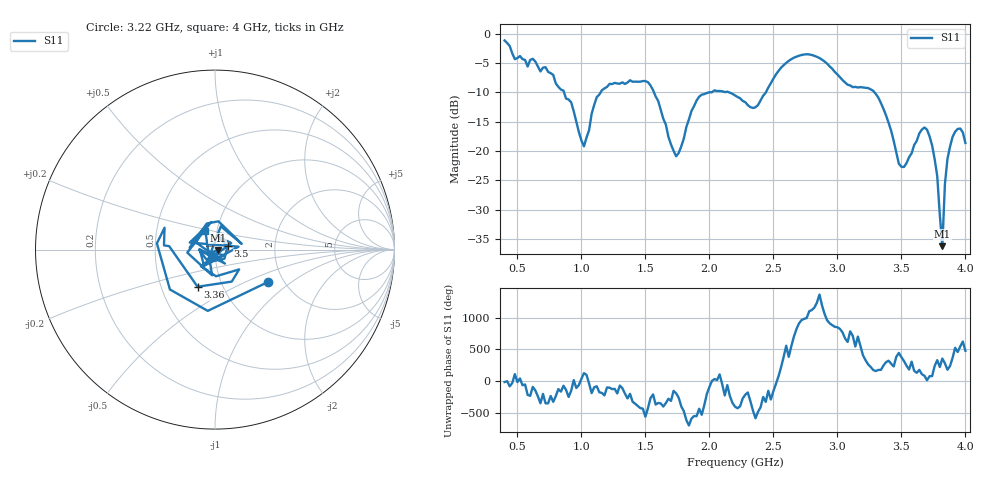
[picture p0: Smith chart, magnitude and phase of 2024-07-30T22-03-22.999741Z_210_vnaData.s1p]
!Created with skrf (http://scikit-rf.org).
# Hz S RI R 50.0
!freq ReS11 ImS11
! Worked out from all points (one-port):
!   181 points, 400 MHz to 4 GHz, reference 50 ohm
!   lowest |S11| = -36.2 dB at 3.82 GHz (marker M1), VSWR 1.03, Z = 51.6 - j0.149 ohm
!   |S11| at or under -10 dB: 1.567 GHz to 1.998 GHz (431.4 MHz wide, 24.2 % of centre); 2.153 GHz to 2.441 GHz (288 MHz wide, 12.5 % of centre); 3.29 GHz to end of sweep (the widest 3 of 4)
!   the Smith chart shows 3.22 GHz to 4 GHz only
!   S11 on the Smith chart (normalised r, x): 3.22 GHz: 1.66, -0.68; 3.36 GHz: 0.76, -0.33; 3.5 GHz: 1.15, +0.05; 4 GHz: 0.88, +0.19
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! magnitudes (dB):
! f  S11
! 400 MHz  -1.2
! 480 MHz  -4.3
! 620 MHz  -4.3
! 860 MHz  -9.7
! 1.02 GHz  -19.2
! 1.12 GHz  -10.8
! 1.3 GHz  -8.5
! 1.52 GHz  -8.3
! 1.72 GHz  -20.0
! 1.76 GHz  -20.3
! 1.92 GHz  -10.7
! 2.2 GHz  -10.5
! 2.36 GHz  -12.5
! 2.66 GHz  -4.1
! 2.86 GHz  -4.2
! 3.1 GHz  -8.8
! 3.22 GHz  -9.2
! 3.36 GHz  -12.8
! 3.5 GHz  -22.7
! 3.56 GHz  -21.0
! 3.66 GHz  -16.3
! 3.72 GHz  -17.5
! 3.78 GHz  -24.3
! 3.82 GHz  -36.2
! 3.84 GHz  -25.6
! 3.88 GHz  -19.2
! 3.94 GHz  -16.2
! 4 GHz  -18.6
